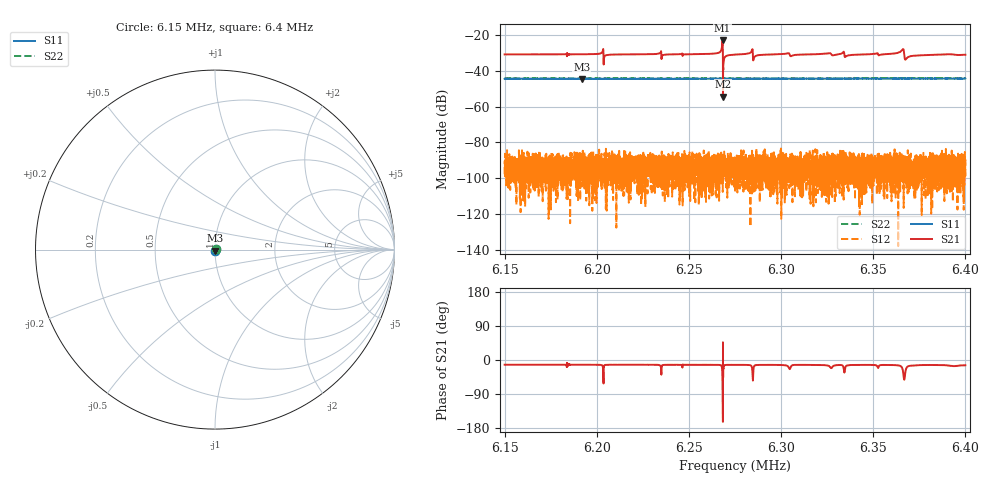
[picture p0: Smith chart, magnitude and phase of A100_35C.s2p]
!CETC41,AV3656A,ZGL00048,1.3.2
!Calibration ON (Full Solt 2-Port(Omit Isolation))
!Measurements: S11 S21 S12 S22
!2025-07-09 20:51
# Hz  S  dB  R 50.000
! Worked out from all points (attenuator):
!   6401 points, 6.15 MHz to 6.4 MHz, reference 50 ohm
!   highest |S21| = -23.06 dB at 6.2682 MHz (marker M1); lowest = -54.4 dB at 6.2685 MHz (marker M2)
!   lowest |S11| = -44.6 dB at 6.1918 MHz (marker M3), VSWR 1.01, Z = 49.9 - j0.584 ohm
!   |S11| at or under -10 dB: start of sweep to end of sweep
!   |S22| runs from -44.5 to -43.9 dB; largest |S21 - S12| = 0.07
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6150000  -44.51 -95.9  -30.85 -12.5  -97.82 29.6  -44.32 24.4
6191680  -44.49 -96.4  -30.77 -12.6  -100.82 62.0  -44.31 24.8
6191836  -44.60 -96.2  -30.76 -12.6  -92.46 -83.8  -44.32 24.6
6202383  -44.49 -96.2  -30.18 -12.9  -104.40 -82.1  -44.35 24.9
6204922  -44.48 -96.4  -31.35 -12.8  -117.15 90.8  -44.34 24.6
6233359  -44.52 -96.5  -30.47 -12.9  -100.13 86.9  -44.33 25.4
6262188  -44.46 -96.7  -30.48 -12.7  -94.77 18.5  -44.35 25.2
6267148  -44.44 -96.4  -29.18 -13.5  -89.37 42.8  -44.31 25.2
6268242  -44.47 -96.4  -23.06 -60.3  -91.78 -177.0  -44.43 25.4
6268477  -44.49 -96.3  -54.39 46.7  -101.72 13.4  -44.35 25.5
6269688  -44.45 -96.4  -32.13 -13.3  -94.55 -78.6  -44.37 25.6
6270859  -44.47 -96.3  -31.46 -12.9  -94.80 84.7  -44.42 25.2
6275000  -44.47 -96.5  -30.96 -12.8  -92.41 13.1  -44.36 25.2
6283398  -44.46 -96.3  -29.86 -13.9  -90.45 150.7  -44.39 25.1
6285977  -44.46 -96.4  -31.87 -13.9  -89.87 -173.2  -44.37 25.3
6303164  -44.46 -96.1  -30.32 -14.8  -92.55 -159.9  -44.38 24.9
6316680  -44.41 -95.7  -30.80 -12.9  -86.86 114.7  -44.43 25.2
6358359  -44.39 -95.5  -30.60 -13.1  -94.80 70.7  -44.08 25.1
6365469  -44.34 -95.5  -28.73 -19.0  -95.13 -4.0  -44.06 25.1
6368203  -44.34 -95.6  -32.93 -19.6  -101.33 125.8  -44.08 25.3
6376445  -44.39 -95.5  -31.31 -13.4  -101.78 124.8  -44.08 25.1
6400000  -44.33 -95.6  -31.03 -14.0  -100.66 168.1  -44.12 25.1
